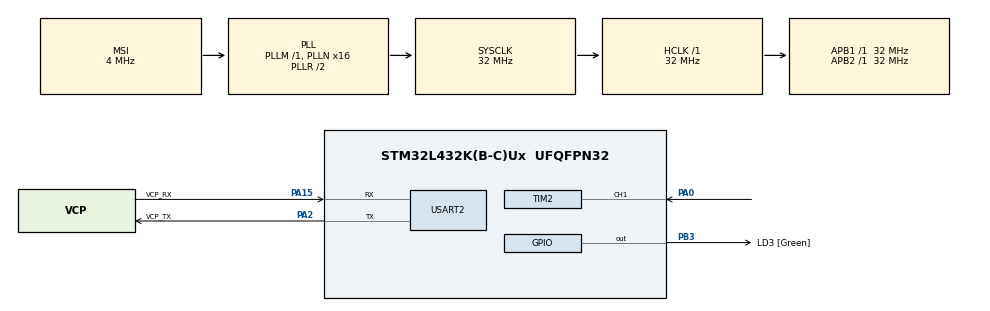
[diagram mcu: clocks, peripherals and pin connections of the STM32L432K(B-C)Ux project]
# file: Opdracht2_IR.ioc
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Mcu.Family=STM32L4
Mcu.Name=STM32L432K(B-C)Ux
Mcu.Package=UFQFPN32
NVIC.PriorityGroup=NVIC_PRIORITYGROUP_4
NVIC.TIM2_IRQn=true\:0\:0\:false\:false\:true\:true\:true\:true
NVIC.USART2_IRQn=true\:0\:0\:false\:false\:true\:true\:true\:true
PA0.Signal=S_TIM2_CH1
PA13\ (JTMS-SWDIO).GPIO_Label=SWDIO
PA13\ (JTMS-SWDIO).Mode=Serial_Wire
PA13\ (JTMS-SWDIO).Signal=SYS_JTMS-SWDIO
PA14\ (JTCK-SWCLK).GPIO_Label=SWCLK
PA14\ (JTCK-SWCLK).Mode=Serial_Wire
PA14\ (JTCK-SWCLK).Signal=SYS_JTCK-SWCLK
PA15\ (JTDI).GPIO_Label=VCP_RX
PA15\ (JTDI).Mode=Asynchronous
PA15\ (JTDI).Signal=USART2_RX
PA2.GPIO_Label=VCP_TX
PA2.Mode=Asynchronous
PA2.Signal=USART2_TX
PB3\ (JTDO-TRACESWO).GPIO_Label=LD3 [Green]
PB3\ (JTDO-TRACESWO).Signal=GPIO_Output
PC14-OSC32_IN\ (PC14).Mode=LSE-External-Oscillator
PC14-OSC32_IN\ (PC14).Signal=RCC_OSC32_IN
PC15-OSC32_OUT\ (PC15).Mode=LSE-External-Oscillator
PC15-OSC32_OUT\ (PC15).Signal=RCC_OSC32_OUT
ProjectManager.HeapSize=0x200
ProjectManager.StackSize=0x400
ProjectManager.TargetToolchain=STM32CubeIDE
RCC.AHBFreq_Value=32000000
RCC.APB1Freq_Value=32000000
RCC.APB1TimFreq_Value=32000000
RCC.APB2Freq_Value=32000000
RCC.APB2TimFreq_Value=32000000
RCC.CortexFreq_Value=32000000
RCC.HCLKFreq_Value=32000000
RCC.HSE_VALUE=8000000
RCC.HSI16_VALUE=16000000
RCC.HSI48_VALUE=48000000
RCC.HSI_VALUE=16000000
RCC.MSI_VALUE=4000000
RCC.PLLMUL=RCC_PLLMUL_4
RCC.PLLN=16
RCC.SYSCLKFreq_VALUE=32000000
RCC.SYSCLKSource=RCC_SYSCLKSOURCE_PLLCLK
RCC.VCOOutputFreq_Value=64000000
SH.S_TIM2_CH1.0=TIM2_CH1,PWM_Input_1
TIM2.ICPolarity_1=TIM_INPUTCHANNELPOLARITY_FALLING
TIM2.Period=3700
TIM2.Prescaler=31
USART2.VirtualMode-Asynchronous=VM_ASYNC
VP_TIM2_VS_ClockSourceINT.Mode=Internal
board=NUCLEO-L432KC

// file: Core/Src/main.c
/* USER CODE BEGIN Header */
/**
  ******************************************************************************
  * @file           : main.c
  * @brief          : Main program body
  ******************************************************************************
  * @attention
  *
  * Copyright (c) 2026 STMicroelectronics.
  * All rights reserved.
  *
  * This software is licensed under terms that can be found in the LICENSE file
  * in the root directory of this software component.
  * If no LICENSE file comes with this software, it is provided AS-IS.
  *
  ******************************************************************************
  */
/* USER CODE END Header */
#include "main.h"
#include "tim.h"
#include "usart.h"
#include "gpio.h"

/* USER CODE BEGIN Includes */
#include "rc5_decode.h"
#include <stdio.h>
/* USER CODE END Includes */

void SystemClock_Config(void);

/* USER CODE BEGIN 0 */
/* Stuur printf() output naar USART2 (zichtbaar in PuTTY) */
int __io_putchar(int ch)
{
  HAL_UART_Transmit(&huart2, (uint8_t *)&ch, 1, 100);
  return ch;
}
/* USER CODE END 0 */

int main(void)
{

  /* MCU Configuration--------------------------------------------------------*/

  /* Reset of all peripherals, Initializes the Flash interface and the Systick. */
  HAL_Init();

  /* Configure the system clock */
  SystemClock_Config();

  /* Initialize all configured peripherals */
  MX_GPIO_Init();
  MX_TIM2_Init();
  MX_USART2_UART_Init();
  /* USER CODE BEGIN 2 */
  setvbuf(stdout, NULL, _IONBF, 0);             /* Schakel buffering uit */
  RC5_ResetPacket();                            /* RC5 pakket initialiseren */
  __HAL_TIM_URS_ENABLE(&htim2);                /* Update interrupt ALLEEN bij overflow, niet bij slave reset */
  __HAL_TIM_ENABLE_IT(&htim2, TIM_IT_UPDATE);  /* Timeout interrupt aanzetten */
  HAL_TIM_IC_Start_IT(&htim2, TIM_CHANNEL_1);  /* CH1: dalende flank */
  HAL_TIM_IC_Start_IT(&htim2, TIM_CHANNEL_2);  /* CH2: stijgende flank */
  printf("IR Receiver gestart\r\n");
  /* USER CODE END 2 */

  /* Infinite loop */
  /* USER CODE BEGIN WHILE */
  while (1)
  {
    /* Controleer of een volledig RC5 frame ontvangen werd */
    if (RC5FrameReceived == YES)
    {
      RC5_Decode(&RC5_FRAME);
      printf("[RC5] Adres: 0x%02X | Commando: 0x%02X | Toggle: %d\r\n",
             RC5_FRAME.Address,
             RC5_FRAME.Command,
             RC5_FRAME.ToggleBit);
    }
    /* USER CODE END WHILE */

  }
}

void SystemClock_Config(void)
{
  RCC_OscInitTypeDef RCC_OscInitStruct = {0};
  RCC_ClkInitTypeDef RCC_ClkInitStruct = {0};

  /** Configure the main internal regulator output voltage
  */
  if (HAL_PWREx_ControlVoltageScaling(PWR_REGULATOR_VOLTAGE_SCALE1) != HAL_OK)
  {
    Error_Handler();
  }

  /** Configure LSE Drive Capability
  */
  HAL_PWR_EnableBkUpAccess();
  __HAL_RCC_LSEDRIVE_CONFIG(RCC_LSEDRIVE_LOW);

  /** Initializes the RCC Oscillators according to the specified parameters
  * in the RCC_OscInitTypeDef structure.
  */
  RCC_OscInitStruct.OscillatorType = RCC_OSCILLATORTYPE_LSE|RCC_OSCILLATORTYPE_MSI;
  RCC_OscInitStruct.LSEState = RCC_LSE_ON;
  RCC_OscInitStruct.MSIState = RCC_MSI_ON;
  RCC_OscInitStruct.MSICalibrationValue = 0;
  RCC_OscInitStruct.MSIClockRange = RCC_MSIRANGE_6;
  RCC_OscInitStruct.PLL.PLLState = RCC_PLL_ON;
  RCC_OscInitStruct.PLL.PLLSource = RCC_PLLSOURCE_MSI;
  RCC_OscInitStruct.PLL.PLLM = 1;
  RCC_OscInitStruct.PLL.PLLN = 16;
  RCC_OscInitStruct.PLL.PLLP = RCC_PLLP_DIV7;
  RCC_OscInitStruct.PLL.PLLQ = RCC_PLLQ_DIV2;
  RCC_OscInitStruct.PLL.PLLR = RCC_PLLR_DIV2;
  if (HAL_RCC_OscConfig(&RCC_OscInitStruct) != HAL_OK)
  {
    Error_Handler();
  }

  /** Initializes the CPU, AHB and APB buses clocks
  */
  RCC_ClkInitStruct.ClockType = RCC_CLOCKTYPE_HCLK|RCC_CLOCKTYPE_SYSCLK
                              |RCC_CLOCKTYPE_PCLK1|RCC_CLOCKTYPE_PCLK2;
  RCC_ClkInitStruct.SYSCLKSource = RCC_SYSCLKSOURCE_PLLCLK;
  RCC_ClkInitStruct.AHBCLKDivider = RCC_SYSCLK_DIV1;
  RCC_ClkInitStruct.APB1CLKDivider = RCC_HCLK_DIV1;
  RCC_ClkInitStruct.APB2CLKDivider = RCC_HCLK_DIV1;

  if (HAL_RCC_ClockConfig(&RCC_ClkInitStruct, FLASH_LATENCY_1) != HAL_OK)
  {
    Error_Handler();
  }

  /** Enable MSI Auto calibration
  */
  HAL_RCCEx_EnableMSIPLLMode();
}

void Error_Handler(void)
{
  __disable_irq();
  while (1)
  {
  }
}
